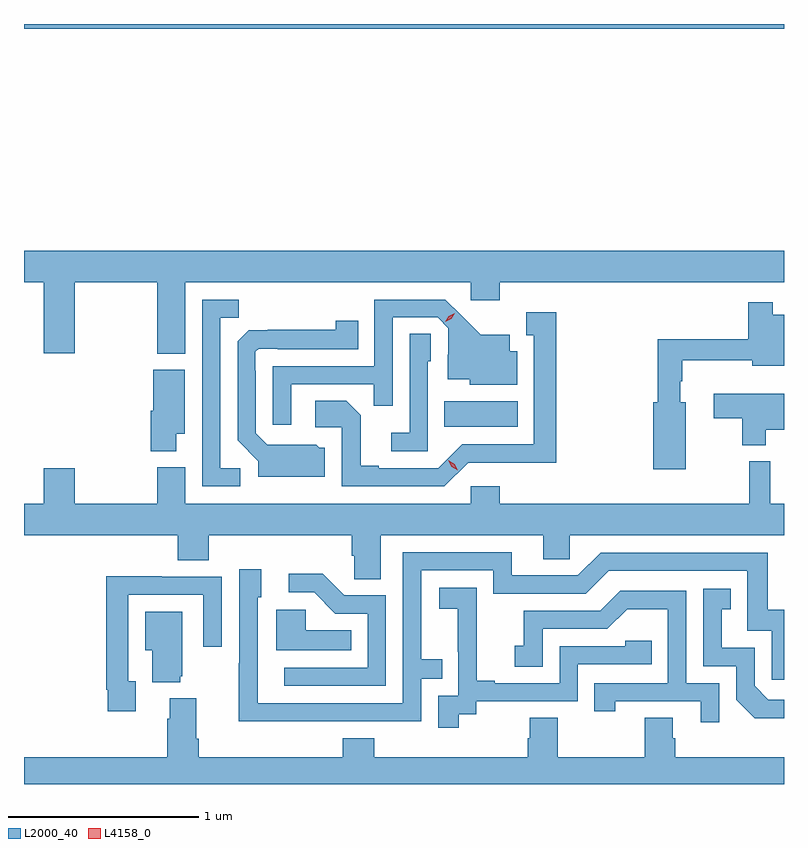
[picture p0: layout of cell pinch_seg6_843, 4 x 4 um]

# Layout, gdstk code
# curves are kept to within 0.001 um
import gdstk
lib = gdstk.Library(unit=1e-6, precision=1e-09)
def R(c, l, rs):  # rectangles x0, y0, x1, y1
    for r in rs: c.add(gdstk.rectangle(r[:2], r[2:], *l))
def P(c, l, *ps):  # polygons
    for p in ps: c.add(gdstk.Polygon(p, *l))
L2000_40 = (2000, 40)
L4158_0 = (4158, 0)

pinch_seg6_843 = lib.new_cell('pinch_seg6_843')
R(pinch_seg6_843, L2000_40, [(155.128,921.266,155.515,921.4), (152.917,923.36,156.917,923.386)])
P(pinch_seg6_843, L2000_40, [(153.766,922.028),(155.268,922.028),(155.268,921.933),(155.42,921.933),(155.42,922.028),(156.917,922.028),(156.917,922.192),(152.917,922.192),(152.917,922.028),(153.02,922.028),(153.02,921.654),(153.184,921.654),(153.184,922.028),(153.619,922.028),(153.619,921.65),(153.766,921.65)],
  [(154.323,921.489),(154.759,921.489),(154.759,921.376),(154.857,921.376),(154.857,921.843),(155.094,921.843),(155.151,921.786),(155.151,921.644),(155.147,921.644),(155.147,921.515),(155.262,921.515),(155.262,921.488),(155.512,921.488),(155.512,921.664),(155.473,921.664),(155.473,921.751),(155.321,921.751),(155.134,921.936),(154.761,921.936),(154.761,921.585),(154.227,921.585),(154.227,921.276),(154.323,921.276)],
  [(154.054,921.048),(153.951,921.048),(153.951,921.841),(154.047,921.841),(154.047,921.936),(153.855,921.936),(153.855,920.952),(154.054,920.952)],
  [(156.4,921.394),(156.37,921.394),(156.37,921.506),(156.382,921.506),(156.382,921.617),(156.749,921.617),(156.749,921.587),(156.917,921.587),(156.917,921.856),(156.859,921.856),(156.859,921.922),(156.73,921.922),(156.73,921.727),(156.253,921.727),(156.253,921.394),(156.23,921.394),(156.23,921.042),(156.4,921.042)],
  [(155.256,921.078),(155.719,921.077),(155.719,921.868),(155.561,921.868),(155.561,921.747),(155.6,921.747),(155.6,921.174),(155.223,921.174),(155.097,921.048),(154.783,921.048),(154.783,921.061),(154.689,921.061),(154.689,921.328),(154.613,921.404),(154.449,921.404),(154.449,921.264),(154.59,921.264),(154.59,920.952),(155.13,920.952)],
  [(154.501,921.156),(154.47,921.156),(154.454,921.172),(154.197,921.171),(154.137,921.231),(154.137,921.56),(154.134,921.56),(154.134,921.66),(154.152,921.678),(154.252,921.678),(154.252,921.675),(154.676,921.675),(154.676,921.823),(154.558,921.823),(154.558,921.776),(154.1,921.775),(154.041,921.716),(154.041,921.194),(154.151,921.084),(154.151,921.002),(154.501,921.002)],
  [(155.043,921.612),(155.058,921.612),(155.058,921.755),(154.947,921.755),(154.947,921.235),(154.851,921.235),(154.851,921.138),(155.043,921.138)],
  [(153.718,921.23),(153.763,921.23),(153.763,921.565),(153.596,921.565),(153.596,921.351),(153.584,921.351),(153.584,921.137),(153.718,921.137)],
  [(156.82,921.251),(156.917,921.251),(156.917,921.439),(156.546,921.439),(156.546,921.31),(156.698,921.31),(156.698,921.17),(156.82,921.17)],
  [(154.795,920.696),(155.651,920.696),(155.651,920.569),(155.79,920.569),(155.79,920.696),(156.917,920.696),(156.917,920.86),(156.845,920.86),(156.845,921.085),(156.735,921.085),(156.735,920.86),(155.42,920.86),(155.42,920.953),(155.268,920.953),(155.268,920.86),(153.766,920.86),(153.766,921.052),(153.619,921.052),(153.619,920.86),(153.184,920.86),(153.184,921.049),(153.02,921.049),(153.02,920.86),(152.917,920.86),(152.917,920.696),(153.725,920.696),(153.725,920.563),(153.89,920.563),(153.89,920.696),(154.643,920.696),(154.643,920.587),(154.656,920.587),(154.656,920.464),(154.795,920.464)],
  [(154.511,919.716),(155.007,919.716),(155.007,919.941),(155.117,919.941),(155.117,920.042),(155.007,920.042),(155.007,920.511),(155.388,920.511),(155.388,920.388),(155.874,920.388),(155.994,920.508),(156.723,920.508),(156.723,920.193),(156.852,920.193),(156.852,919.935),(156.917,919.935),(156.917,920.302),(156.832,920.302),(156.832,920.604),(155.952,920.604),(155.832,920.484),(155.485,920.484),(155.485,920.607),(154.911,920.607),(154.911,919.812),(154.147,919.812),(154.146,920.37),(154.165,920.37),(154.165,920.515),(154.05,920.515),(154.05,920.021),(154.048,920.021),(154.048,919.715)],
  [(154.821,920.379),(154.602,920.379),(154.489,920.492),(154.311,920.492),(154.311,920.394),(154.445,920.394),(154.556,920.283),(154.725,920.283),(154.725,919.998),(154.287,919.998),(154.287,919.902),(154.821,919.902)],
  [(153.505,919.926),(153.465,919.926),(153.465,920.382),(153.861,920.382),(153.861,920.109),(153.957,920.109),(153.957,920.478),(153.641,920.478),(153.641,920.48),(153.349,920.48),(153.349,919.882),(153.357,919.882),(153.357,919.77),(153.505,919.77)],
  [(155.206,919.753),(155.298,919.753),(155.298,919.821),(155.832,919.821),(155.832,920.016),(156.221,920.016),(156.221,920.139),(156.081,920.139),(156.081,920.112),(155.736,920.112),(155.736,919.917),(155.395,919.917),(155.395,919.93),(155.3,919.93),(155.3,920.213),(155.301,920.213),(155.301,920.419),(155.103,920.419),(155.103,920.309),(155.201,920.309),(155.201,920.081),(155.202,920.081),(155.202,919.851),(155.097,919.851),(155.097,919.683),(155.206,919.683)],
  [(156.917,919.83),(156.834,919.83),(156.762,919.902),(156.762,920.103),(156.589,920.103),(156.589,920.307),(156.638,920.307),(156.638,920.413),(156.492,920.413),(156.492,920.007),(156.666,920.007),(156.666,919.83),(156.764,919.733),(156.917,919.733)],
  [(156.576,919.917),(156.402,919.917),(156.402,920.403),(156.056,920.403),(155.951,920.298),(155.548,920.298),(155.548,920.113),(155.499,920.113),(155.499,920.004),(155.646,920.004),(155.646,920.202),(155.988,920.202),(156.092,920.306),(156.306,920.306),(156.306,919.917),(155.917,919.917),(155.917,919.77),(156.028,919.77),(156.028,919.821),(156.479,919.821),(156.479,919.71),(156.576,919.71)],
  [(154.64,920.194),(154.401,920.194),(154.401,920.302),(154.244,920.302),(154.244,920.09),(154.64,920.09)],
  [(153.74,919.953),(153.751,919.953),(153.751,920.293),(153.554,920.293),(153.554,920.09),(153.593,920.09),(153.593,919.922),(153.74,919.922)],
  [(153.823,919.624),(153.823,919.837),(153.683,919.837),(153.683,919.73),(153.671,919.73),(153.671,919.528),(152.917,919.528),(152.917,919.386),(156.917,919.386),(156.917,919.528),(156.344,919.528),(156.344,919.626),(156.331,919.626),(156.331,919.736),(156.184,919.736),(156.184,919.528),(155.727,919.528),(155.727,919.736),(155.579,919.736),(155.579,919.626),(155.567,919.626),(155.567,919.528),(154.76,919.528),(154.76,919.627),(154.595,919.627),(154.595,919.528),(153.836,919.528),(153.836,919.624)])
P(pinch_seg6_843, L4158_0, [(155.201,921.037),(155.169,921.056),(155.151,921.089),(155.151,921.089),(155.151,921.089),(155.183,921.07),(155.201,921.038),(155.201,921.037)],
  [(155.135,921.819),(155.135,921.819),(155.152,921.849),(155.183,921.864),(155.183,921.864),(155.183,921.863),(155.166,921.834),(155.135,921.819)])

lib.write_gds('pinch_seg6_843.gds')
